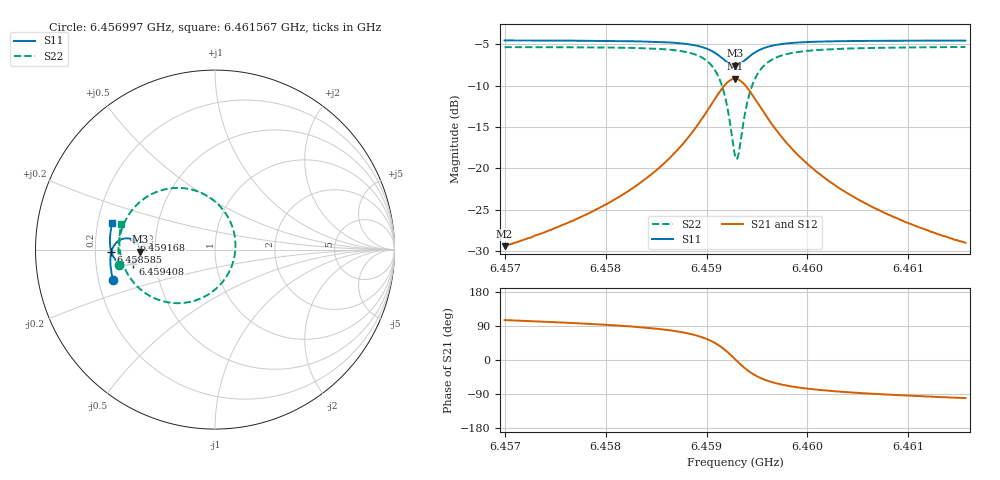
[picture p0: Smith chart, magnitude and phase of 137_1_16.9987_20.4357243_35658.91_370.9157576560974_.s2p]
#  HZ  S  RI  R  50.00
! Rohde & Schwarz Vector Network Analyzer
! Rohde-Schwarz,ZNB20-2Port,1311601062101988,3.16
! Created: UTC 3/20/2024, 10:58:11 PM
! freq[Hz]  re:S11  im:S11  re:S21  im:S21  re:S12  im:S12  re:S22  im:S22
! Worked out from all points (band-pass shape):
!   401 points, 6.456997 GHz to 6.461567 GHz, reference 50 ohm
!   highest |S21| = -9.18 dB at 6.459282 GHz (marker M1); lowest = -29.4 dB at 6.456997 GHz (marker M2)
!   |S21| within 3 dB of the highest: 6.459053 GHz to 6.45951 GHz (456.8 kHz wide, 0.00707 % of centre)
!   lowest |S11| = -7.6 dB at 6.459282 GHz (marker M3), VSWR 2.43, Z = 20.6 - j0.57 ohm
!   |S11| at or under -10 dB: nowhere
!   |S22| runs from -18.9 to -5.3 dB; largest |S21 - S12| = 0.014
!   S11 on the Smith chart (normalised r, x): 6.456997 GHz: 0.26, -0.14; 6.458585 GHz: 0.27, -0.01; 6.459168 GHz: 0.38, +0.05; 6.459408 GHz: 0.37, -0.07; 6.461567 GHz: 0.26, +0.12
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6.4569972e9  -0.5665 -0.172  -0.00886 0.0326  -0.00723 0.0326  -0.5329 -0.0834
6.4577627e9  -0.5805 -0.105  -0.00558 0.0506  -0.00303 0.0501  -0.5381 0.00652
6.4582083e9  -0.5834 -0.0598  0.000954 0.0718  0.00435 0.0703  -0.5287 0.0782
6.4585282e9  -0.5795 -0.0212  0.0143 0.0993  0.0183 0.0965  -0.5041 0.1517
6.4585853e9  -0.5777 -0.0133  0.0187 0.1062  0.0228 0.1031  -0.4959 0.1683
6.4587909e9  -0.5646 0.0188  0.0464 0.1389  0.0505 0.1341  -0.4441 0.241
6.4589395e9  -0.5417 0.0452  0.092 0.1697  0.0953 0.163  -0.3599 0.3053
6.4590766e9  -0.4976 0.0627  0.1799 0.1862  0.1808 0.1786  -0.1998 0.3437
6.459168e9  -0.4525 0.0523  0.2701 0.1545  0.2705 0.1487  -0.0328 0.2924
6.4592365e9  -0.4233 0.0199  0.3308 0.0821  0.3331 0.0767  0.0825 0.1619
6.4592822e9  -0.4165 -0.0114  0.3473 0.0139  0.3509 0.00684  0.114 0.0344
6.4592936e9  -0.4169 -0.0194  0.3468 -0.00414  0.3508 -0.0118  0.1136 0.000719
6.4593165e9  -0.4204 -0.0352  0.3412 -0.0388  0.345 -0.048  0.1022 -0.0651
6.4593622e9  -0.4362 -0.0615  0.3124 -0.0989  0.3146 -0.1109  0.0438 -0.1783
6.4594079e9  -0.4584 -0.0779  0.2701 -0.1401  0.2692 -0.1534  -0.0416 -0.253
6.4594993e9  -0.502 -0.0849  0.185 -0.1712  0.1789 -0.1828  -0.2108 -0.2986
6.4596478e9  -0.5461 -0.0645  0.0968 -0.1572  0.0885 -0.1635  -0.3785 -0.2488
6.4598192e9  -0.5689 -0.035  0.0496 -0.1273  0.0421 -0.1301  -0.4625 -0.172
6.4600477e9  -0.5808 -0.0014  0.0225 -0.0977  0.0168 -0.0982  -0.5069 -0.094
6.4603676e9  -0.5855 0.037  0.00707 -0.0721  0.00301 -0.0717  -0.5276 -0.0194
6.4608132e9  -0.5838 0.082  -0.00132 -0.0522  -0.00424 -0.0513  -0.5327 0.053
6.4615672e9  -0.5719 0.1491  -0.00642 -0.0348  -0.00819 -0.0338  -0.5216 0.1424
